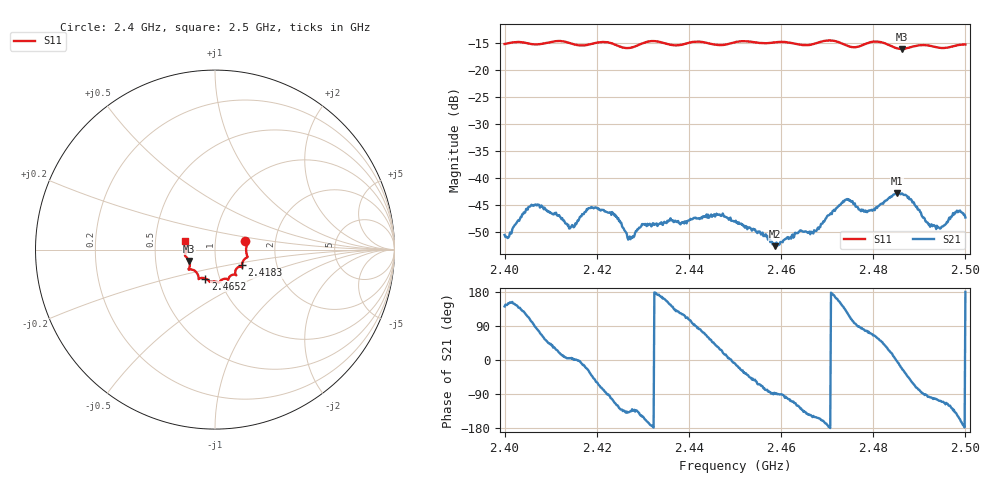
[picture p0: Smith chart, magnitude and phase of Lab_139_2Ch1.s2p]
# Hz S RI R 50
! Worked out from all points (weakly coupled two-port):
!   601 points, 2.4 GHz to 2.5 GHz, reference 50 ohm
!   highest |S21| = -42.86 dB at 2.4852 GHz (marker M1); lowest = -52.7 dB at 2.4587 GHz (marker M2)
!   lowest |S11| = -16.1 dB at 2.4862 GHz (marker M3), VSWR 1.37, Z = 37.2 - j4.86 ohm
!   |S11| at or under -10 dB: start of sweep to end of sweep
!   S12 and S22 are empty: the file has one direction only
!   S11 on the Smith chart (normalised r, x): 2.4 GHz: 1.40, +0.13; 2.4183 GHz: 1.33, -0.24; 2.4652 GHz: 0.85, -0.28; 2.5 GHz: 0.71, +0.07
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2.4e9  0.1682 0.0468  -0.0023 0.00184  0 0  0 0
2.406167e9  0.1733 0.00707  -0.00059 0.00545  0 0  0 0
2.4145e9  0.1692 -0.0492  0.00353 0.000338  0 0  0 0
2.416667e9  0.1549 -0.0678  0.00434 -0.000651  0 0  0 0
2.418333e9  0.1498 -0.0863  0.0045 -0.00266  0 0  0 0
2.423833e9  0.1443 -0.0958  -0.00168 -0.00414  0 0  0 0
2.427167e9  0.1174 -0.1094  -0.00206 -0.00197  0 0  0 0
2.43e9  0.1136 -0.1365  -0.00318 -0.0019  0 0  0 0
2.433333e9  0.1173 -0.1413  -0.00363 0.000536  0 0  0 0
2.446333e9  0.0508 -0.1631  0.00377 0.00254  0 0  0 0
2.45e9  0.0257 -0.1797  0.0039 -0.000654  0 0  0 0
2.458667e9  -0.0211 -0.1796  0.000111 -0.00231  0 0  0 0
2.465167e9  -0.0544 -0.1612  -0.00233 -0.00215  0 0  0 0
2.466667e9  -0.0709 -0.1576  -0.00262 -0.00163  0 0  0 0
2.474e9  -0.0947 -0.142  -0.00414 0.00468  0 0  0 0
2.4785e9  -0.1375 -0.1102  0.00106 0.00469  0 0  0 0
2.483333e9  -0.1414 -0.0969  0.0058 0.00282  0 0  0 0
2.485167e9  -0.14 -0.0755  0.00719 -0.000383  0 0  0 0
2.486167e9  -0.1434 -0.0637  0.00667 -0.00258  0 0  0 0
2.4925e9  -0.1657 -0.0245  -0.000573 -0.00359  0 0  0 0
2.498333e9  -0.166 0.0382  -0.00406 -0.00252  0 0  0 0
2.5e9  -0.1663 0.0474  -0.00427 1.38e-05  0 0  0 0
